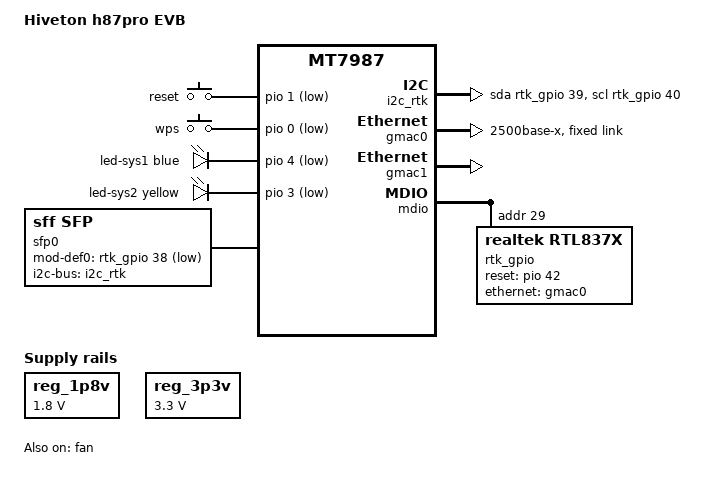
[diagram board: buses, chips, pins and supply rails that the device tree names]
// SPDX-License-Identifier: (GPL-2.0 OR MIT)

/dts-v1/;
#include "mt7987a.dtsi"
#include <dt-bindings/input/input.h>

/ {
	model = "Hiveton h87pro EVB";
	compatible = "hiveton,h87pro-evb", "mediatek,mt7987";

	aliases {
		serial0 = &uart0;
	};

	chosen: chosen {
		stdout-path = "serial0:115200n8";
	};

	gpio-keys {
		compatible = "gpio-keys";

		reset {
			label = "reset";
			linux,code = <KEY_RESTART>;
			gpios = <&pio 1 GPIO_ACTIVE_LOW>;
			debounce-interval = <10>;
		};

		wps {
			label = "wps";
			linux,code = <KEY_WPS_BUTTON>;
			gpios = <&pio 0 GPIO_ACTIVE_LOW>;
			debounce-interval = <10>;
		};
	};

	leds {
		compatible = "gpio-leds";

		led-sys1 {
			gpios = <&pio 4 GPIO_ACTIVE_LOW>;
			color = <LED_COLOR_ID_BLUE>;
			function = LED_FUNCTION_POWER;
		};

		led-sys2 {
			gpios = <&pio 3 GPIO_ACTIVE_LOW>;
			color = <LED_COLOR_ID_YELLOW>;
			function = LED_FUNCTION_POWER;
		};
	};

	reg_1p8v: regulator-1p8v {
		compatible = "regulator-fixed";
		regulator-name = "fixed-1.8V";
		regulator-min-microvolt = <1800000>;
		regulator-max-microvolt = <1800000>;
		regulator-boot-on;
		regulator-always-on;
	};

	reg_3p3v: regulator-3p3v {
		compatible = "regulator-fixed";
		regulator-name = "fixed-3.3V";
		regulator-min-microvolt = <3300000>;
		regulator-max-microvolt = <3300000>;
		regulator-boot-on;
		regulator-always-on;
	};

	i2c_rtk: i2c {
		compatible = "i2c-gpio";
		sda-gpios = <&rtk_gpio 39 GPIO_ACTIVE_HIGH>;
		scl-gpios = <&rtk_gpio 40 GPIO_ACTIVE_HIGH>;
		i2c-gpio,delay-us = <5>;
		i2c-gpio,timeout-ms = <1>;
	};

	sfp0: sfp {
		compatible = "sff,sfp";

		i2c-bus = <&i2c_rtk>;
		mod-def0-gpios = <&rtk_gpio 38 GPIO_ACTIVE_LOW>;
		maximum-power-milliwatt = <1000>;
	};
};

&fan {
	pinctrl-names = "default";
	pinctrl-0 = <&pwm_fan_pins>;
	compatible = "pwm-fan";
	#cooling-cells = <2>;
	cooling-levels = <0 10 20 30 40 50 60 70 80 90 100 110 120 130 140 150 160 170 180 190 200 210 220 240 255>;
	pwms = <&pwm 1 50000 0>;
	status = "okay";
};

&gmac0 {
	phy-mode = "2500base-x";
	status = "okay";
	fixed-link {
		speed = <2500>;
		full-duplex;
		pause;
		asym-pause;
	};
};

&gmac1 {
	status = "okay";
};

/*
&mdio {
	rtk_gpio: switch0: switch@1d {
		compatible = "realtek,rtl8372n";
		reg = <29>;
		reset-gpios = <&pio 42 GPIO_ACTIVE_HIGH>;
		
		sds0-rx-swap;
		sds1-rx-swap;
		phy-mdi-reverse;
		phy-tx-polarity-swap;

		gpio-controller;
		#gpio-cells = <2>;

		ports {
		#address-cells = <1>;
		#size-cells = <0>;

			port@3 {
				reg = <3>;
				label = "cpu";
				ethernet = <&gmac0>;
				phy-mode = "2500base-x";

				fixed-link {
					speed = <10000>;
					full-duplex;
					pause;
					asym-pause;
				};
			};

			port@4 {
				reg = <4>;
				label = "lan1";
				phy-mode = "internal";
				phy-handle = <&internal_phy1>;
			};

			port@5 {
				reg = <5>;
				label = "lan2";
				phy-mode = "internal";
				phy-handle = <&internal_phy2>;
			};

			port@6 {
				reg = <6>;
				label = "lan3";
				phy-mode = "internal";
				phy-handle = <&internal_phy3>;
			};

			port@7 {
				reg = <7>;
				label = "lan4";
				phy-mode = "internal";
				phy-handle = <&internal_phy4>;
			};

			port@8 {
				reg = <8>;
				label = "lan5";
				sfp = <&sfp0>;
				phy-mode = "10gbase-r";
				managed = "in-band-status";
			};
		};

		mdio {
			internal_phy1: phy@4 {
				compatible = "ethernet-phy-ieee802.3-c45";
				reg = <4>;
			};

			internal_phy2: phy@5 {
				compatible = "ethernet-phy-ieee802.3-c45";
				reg = <5>;
			};

			internal_phy3: phy@6 {
				compatible = "ethernet-phy-ieee802.3-c45";
				reg = <6>;
			};

			internal_phy4: phy@7 {
				compatible = "ethernet-phy-ieee802.3-c45";
				reg = <7>;
			};
		};
	};
};
*/

&mdio {
	rtk_gpio: rtl837x-gsw@1 {
		compatible = "realtek,rtl837x";
		#address-cells = <1>;
		#size-cells = <1>;
		reg = <29>;
		reset-gpios = <&pio 42 GPIO_ACTIVE_HIGH>;
		rtl837x,cpu-port = <0>;
		rtl837x,sds0mode = "2500base-x";
		ethernet = <&gmac0>;
		sfp = <&sfp0>;
		sds0-rx-swap;
		sds1-rx-swap;
		phy-mdi-reverse;
		phy-tx-polarity-swap;
		gpio-controller;
		#gpio-cells = <2>;
	};
};
